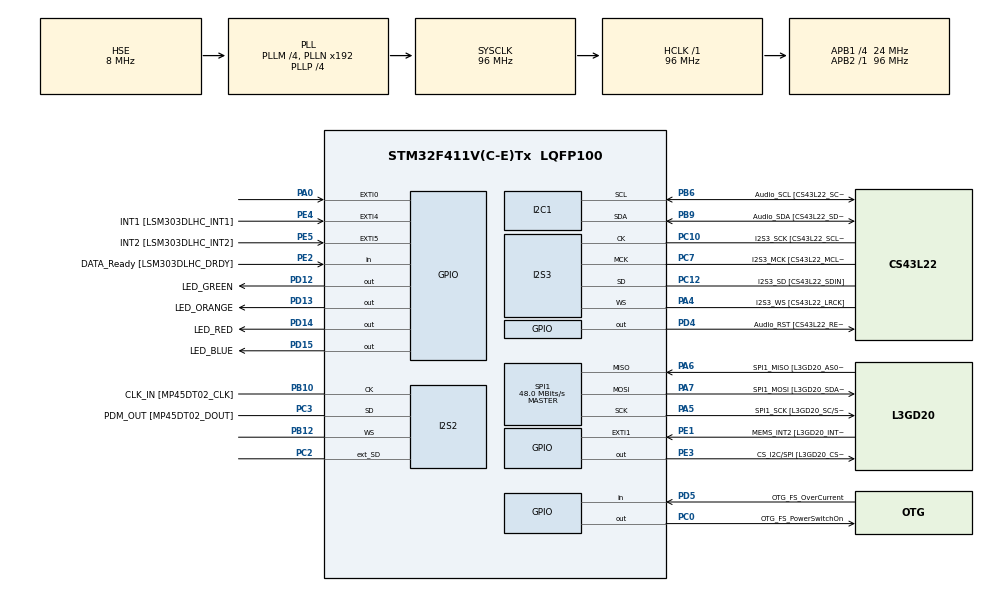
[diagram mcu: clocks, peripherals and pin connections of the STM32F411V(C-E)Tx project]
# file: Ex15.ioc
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FREERTOS.BinarySemaphores01=Blue2Green,Dynamic,NULL;Blue2Red,Dynamic,NULL
FREERTOS.INCLUDE_vTaskDelayUntil=1
FREERTOS.Mutexes01=CriticalResourceMutex,Dynamic,NULL
FREERTOS.Tasks01=FlashGreenLed,0,128,StartFlashGreenLedTask,Default,NULL,Dynamic,NULL,NULL;FlashRedLed,0,128,StartFlashRedLedTask,Default,NULL,Dynamic,NULL,NULL;FlashBlueLed,0,128,StartFlashBlueLedTask,Default,NULL,Dynamic,NULL,NULL
FREERTOS.configUSE_NEWLIB_REENTRANT=1
I2S2.AudioFreq=I2S_AUDIOFREQ_96K
I2S2.ErrorAudioFreq=0.15 %
I2S2.FullDuplexMode=I2S_FULLDUPLEXMODE_ENABLE
I2S2.Instance=SPI$Index
I2S2.RealAudioFreq=96.153 KHz
I2S2.VirtualMode=I2S_MODE_MASTER
I2S3.AudioFreq=I2S_AUDIOFREQ_96K
I2S3.ErrorAudioFreq=-6.99 %
I2S3.FullDuplexMode=I2S_FULLDUPLEXMODE_DISABLE
I2S3.Instance=SPI$Index
I2S3.RealAudioFreq=89.285 KHz
I2S3.VirtualMode=I2S_MODE_MASTER
Mcu.Family=STM32F4
Mcu.Name=STM32F411V(C-E)Tx
Mcu.Package=LQFP100
NVIC.PriorityGroup=NVIC_PRIORITYGROUP_4
NVIC.TIM1_UP_TIM10_IRQn=true\:15\:0\:false\:false\:true\:false\:false\:true\:true
NVIC.TimeBase=TIM1_UP_TIM10_IRQn
NVIC.TimeBaseIP=TIM1
PA0-WKUP.GPIO_ModeDefaultEXTI=GPIO_MODE_EVT_RISING
PA0-WKUP.Signal=GPXTI0
PA10.GPIO_Label=OTG_FS_ID
PA10.Signal=USB_OTG_FS_ID
PA11.GPIO_Label=OTG_FS_DM
PA11.Signal=USB_OTG_FS_DM
PA12.GPIO_Label=OTG_FS_DP
PA12.Signal=USB_OTG_FS_DP
PA13.GPIO_Label=SWDIO
PA13.Mode=Serial_Wire
PA13.Signal=SYS_JTMS-SWDIO
PA14.GPIO_Label=SWCLK
PA14.Mode=Serial_Wire
PA14.Signal=SYS_JTCK-SWCLK
PA4.GPIO_Label=I2S3_WS [CS43L22_LRCK]
PA4.GPIO_Mode=GPIO_MODE_AF_PP
PA4.GPIO_PuPd=GPIO_NOPULL
PA4.GPIO_Speed=GPIO_SPEED_FREQ_LOW
PA4.Mode=Half_Duplex_Master
PA4.Signal=I2S3_WS
PA5.GPIO_Label=SPI1_SCK [L3GD20_SC/SPC]
PA5.Mode=Full_Duplex_Master
PA5.Signal=SPI1_SCK
PA6.GPIO_Label=SPI1_MISO [L3GD20_AS0/SDO]
PA6.Mode=Full_Duplex_Master
PA6.Signal=SPI1_MISO
PA7.GPIO_Label=SPI1_MOSI [L3GD20_SDA/SDI/SDO]
PA7.Mode=Full_Duplex_Master
PA7.Signal=SPI1_MOSI
PA9.GPIO_Label=VBUS_FS
PA9.Signal=USB_OTG_FS_VBUS
PB10.GPIO_Label=CLK_IN [MP45DT02_CLK]
PB10.Mode=Full_Duplex_Master
PB10.Signal=I2S2_CK
PB12.Mode=Full_Duplex_Master
PB12.Signal=I2S2_WS
PB3.GPIO_Label=SWO
PB3.Signal=SYS_JTDO-SWO
PB6.GPIO_Label=Audio_SCL [CS43L22_SCL]
PB6.GPIO_Mode=GPIO_MODE_AF_OD
PB6.GPIO_Pu=GPIO_PULLUP
PB6.GPIO_PuPd=GPIO_NOPULL
PB6.GPIO_Speed=GPIO_SPEED_FREQ_LOW
PB6.Mode=I2C
PB6.Signal=I2C1_SCL
PB9.GPIO_Label=Audio_SDA [CS43L22_SDA]
PB9.GPIO_Mode=GPIO_MODE_AF_OD
PB9.GPIO_Pu=GPIO_PULLUP
PB9.GPIO_PuPd=GPIO_NOPULL
PB9.GPIO_Speed=GPIO_SPEED_FREQ_LOW
PB9.Mode=I2C
PB9.Signal=I2C1_SDA
PC0.GPIO_Label=OTG_FS_PowerSwitchOn
PC0.PinState=GPIO_PIN_SET
PC0.Signal=GPIO_Output
PC10.GPIO_Label=I2S3_SCK [CS43L22_SCLK]
PC10.GPIO_Mode=GPIO_MODE_AF_PP
PC10.GPIO_PuPd=GPIO_NOPULL
PC10.GPIO_Speed=GPIO_SPEED_FREQ_LOW
PC10.Mode=Half_Duplex_Master
PC10.Signal=I2S3_CK
PC12.GPIO_Label=I2S3_SD [CS43L22_SDIN]
PC12.GPIO_Mode=GPIO_MODE_AF_PP
PC12.GPIO_PuPd=GPIO_NOPULL
PC12.GPIO_Speed=GPIO_SPEED_FREQ_LOW
PC12.Mode=Half_Duplex_Master
PC12.Signal=I2S3_SD
PC14-OSC32_IN.GPIO_Label=PC14-OSC32_IN
PC14-OSC32_IN.Mode=LSE-External-Oscillator
PC14-OSC32_IN.Signal=RCC_OSC32_IN
PC15-OSC32_OUT.GPIO_Label=PC15-OSC32_OUT
PC15-OSC32_OUT.Mode=LSE-External-Oscillator
PC15-OSC32_OUT.Signal=RCC_OSC32_OUT
PC2.Mode=Full_Duplex_Master
PC2.Signal=I2S2_ext_SD
PC3.GPIO_Label=PDM_OUT [MP45DT02_DOUT]
PC3.Mode=Full_Duplex_Master
PC3.Signal=I2S2_SD
PC7.GPIO_Label=I2S3_MCK [CS43L22_MCLK]
PC7.GPIO_Mode=GPIO_MODE_AF_PP
PC7.GPIO_PuPd=GPIO_NOPULL
PC7.GPIO_Speed=GPIO_SPEED_FREQ_LOW
PC7.Mode=Master_Clock_Activated
PC7.Signal=I2S3_MCK
PD12.GPIO_Label=LED_GREEN
PD12.GPIO_PuPd=GPIO_NOPULL
PD12.GPIO_Speed=GPIO_SPEED_FREQ_LOW
PD12.Signal=GPIO_Output
PD13.GPIO_Label=LED_ORANGE
PD13.GPIO_PuPd=GPIO_NOPULL
PD13.GPIO_Speed=GPIO_SPEED_FREQ_LOW
PD13.Signal=GPIO_Output
PD14.GPIO_Label=LED_RED
PD14.GPIO_PuPd=GPIO_NOPULL
PD14.GPIO_Speed=GPIO_SPEED_FREQ_LOW
PD14.Signal=GPIO_Output
PD15.GPIO_Label=LED_BLUE
PD15.GPIO_PuPd=GPIO_NOPULL
PD15.GPIO_Speed=GPIO_SPEED_FREQ_LOW
PD15.Signal=GPIO_Output
PD4.GPIO_Label=Audio_RST [CS43L22_RESET]
PD4.Signal=GPIO_Output
PD5.GPIO_Label=OTG_FS_OverCurrent
PD5.Signal=GPIO_Input
PE1.GPIO_Label=MEMS_INT2 [L3GD20_INT2]
PE1.GPIO_ModeDefaultEXTI=GPIO_MODE_EVT_RISING
PE1.Signal=GPXTI1
PE2.GPIO_Label=DATA_Ready [LSM303DLHC_DRDY]
PE2.Signal=GPIO_Input
PE3.GPIO_Label=CS_I2C/SPI [L3GD20_CS_I2C/SPI]
PE3.Signal=GPIO_Output
PE4.GPIO_Label=INT1 [LSM303DLHC_INT1]
PE4.GPIO_ModeDefaultEXTI=GPIO_MODE_EVT_RISING
PE4.Signal=GPXTI4
PE5.GPIO_Label=INT2 [LSM303DLHC_INT2]
PE5.GPIO_ModeDefaultEXTI=GPIO_MODE_EVT_RISING
PE5.Signal=GPXTI5
PH0\ -\ OSC_IN.GPIO_Label=PH0-OSC_IN
PH0\ -\ OSC_IN.Mode=HSE-External-Oscillator
PH0\ -\ OSC_IN.Signal=RCC_OSC_IN
PH1\ -\ OSC_OUT.GPIO_Label=PH1-OSC_OUT
PH1\ -\ OSC_OUT.Mode=HSE-External-Oscillator
PH1\ -\ OSC_OUT.Signal=RCC_OSC_OUT
ProjectManager.HeapSize=0x200
ProjectManager.StackSize=0x400
ProjectManager.TargetToolchain=STM32CubeIDE
RCC.48MHZClocksFreq_Value=48000000
RCC.AHBFreq_Value=96000000
RCC.APB1CLKDivider=RCC_HCLK_DIV4
RCC.APB1Freq_Value=24000000
RCC.APB1TimFreq_Value=48000000
RCC.APB2Freq_Value=96000000
RCC.APB2TimFreq_Value=96000000
RCC.CortexFreq_Value=96000000
RCC.HCLKFreq_Value=96000000
RCC.HSE_VALUE=8000000
RCC.HSI_VALUE=16000000
RCC.PLLI2SM=5
RCC.PLLI2SN=200
RCC.PLLM=4
RCC.PLLP=RCC_PLLP_DIV4
RCC.PLLQ=8
RCC.PLLSourceVirtual=RCC_PLLSOURCE_HSE
RCC.SYSCLKFreq_VALUE=96000000
RCC.SYSCLKSource=RCC_SYSCLKSOURCE_PLLCLK
RCC.VCOOutputFreq_Value=384000000
SPI1.BaudRatePrescaler=SPI_BAUDRATEPRESCALER_2
SPI1.CalculateBaudRate=48.0 MBits/s
SPI1.Direction=SPI_DIRECTION_2LINES
SPI1.Mode=SPI_MODE_MASTER
SPI1.VirtualType=VM_MASTER
VP_FREERTOS_VS_CMSIS_V1.Mode=CMSIS_V1
VP_SYS_VS_tim1.Mode=TIM1
board=STM32F411E-DISCO

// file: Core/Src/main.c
/* USER CODE BEGIN Header */
/**
  ******************************************************************************
  * @file           : main.c
  * @brief          : Main program body
  ******************************************************************************
  * @attention
  *
  * Copyright (c) 2024 STMicroelectronics.
  * All rights reserved.
  *
  * This software is licensed under terms that can be found in the LICENSE file
  * in the root directory of this software component.
  * If no LICENSE file comes with this software, it is provided AS-IS.
  *
  ******************************************************************************
  */
/* USER CODE END Header */
#include "main.h"
#include "cmsis_os.h"

/* USER CODE BEGIN PD */
#define Blue2GreenEF Blue2GreenHandle
#define Blue2RedEF Blue2RedHandle
#define WaitForever portMAX_DELAY
#define NoWait 0
#define WaitEventFlag osSemaphoreWait
#define SetEventFlag osSemaphoreRelease
#define BlockEventFlag osSemaphoreWait
/* USER CODE END PD */

I2C_HandleTypeDef hi2c1;

I2S_HandleTypeDef hi2s2;
I2S_HandleTypeDef hi2s3;

SPI_HandleTypeDef hspi1;

osThreadId FlashGreenLedHandle;
osThreadId FlashRedLedHandle;
osThreadId FlashBlueLedHandle;
osMutexId CriticalResourceMutexHandle;
osSemaphoreId Blue2GreenHandle;
osSemaphoreId Blue2RedHandle;

void SystemClock_Config(void);
void PeriphCommonClock_Config(void);
static void MX_GPIO_Init(void);
static void MX_I2C1_Init(void);
static void MX_I2S2_Init(void);
static void MX_I2S3_Init(void);
static void MX_SPI1_Init(void);
void StartFlashGreenLedTask(void const * argument);
void StartFlashRedLedTask(void const * argument);
void StartFlashBlueLedTask(void const * argument);

int main(void)
{

  /* MCU Configuration--------------------------------------------------------*/

  /* Reset of all peripherals, Initializes the Flash interface and the Systick. */
  HAL_Init();

  /* Configure the system clock */
  SystemClock_Config();

/* Configure the peripherals common clocks */
  PeriphCommonClock_Config();

  /* Initialize all configured peripherals */
  MX_GPIO_Init();
  MX_I2C1_Init();
  MX_I2S2_Init();
  MX_I2S3_Init();
  MX_SPI1_Init();

  /* Create the mutex(es) */
  /* definition and creation of CriticalResourceMutex */
  osMutexDef(CriticalResourceMutex);
  CriticalResourceMutexHandle = osMutexCreate(osMutex(CriticalResourceMutex));

  /* Create the semaphores(s) */
  /* definition and creation of Blue2Green */
  osSemaphoreDef(Blue2Green);
  Blue2GreenHandle = osSemaphoreCreate(osSemaphore(Blue2Green), 1);

  /* definition and creation of Blue2Red */
  osSemaphoreDef(Blue2Red);
  Blue2RedHandle = osSemaphoreCreate(osSemaphore(Blue2Red), 1);

  /* Create the thread(s) */
  /* definition and creation of FlashGreenLed */
  osThreadDef(FlashGreenLed, StartFlashGreenLedTask, osPriorityNormal, 0, 128);
  FlashGreenLedHandle = osThreadCreate(osThread(FlashGreenLed), NULL);

  /* definition and creation of FlashRedLed */
  osThreadDef(FlashRedLed, StartFlashRedLedTask, osPriorityNormal, 0, 128);
  FlashRedLedHandle = osThreadCreate(osThread(FlashRedLed), NULL);

  /* definition and creation of FlashBlueLed */
  osThreadDef(FlashBlueLed, StartFlashBlueLedTask, osPriorityNormal, 0, 128);
  FlashBlueLedHandle = osThreadCreate(osThread(FlashBlueLed), NULL);

  /* Start scheduler */
  osKernelStart();

  /* We should never get here as control is now taken by the scheduler */
  /* Infinite loop */
  while (1)
  {

  }
}

void SystemClock_Config(void)
{
  RCC_OscInitTypeDef RCC_OscInitStruct = {0};
  RCC_ClkInitTypeDef RCC_ClkInitStruct = {0};

  /** Configure the main internal regulator output voltage
  */
  __HAL_RCC_PWR_CLK_ENABLE();
  __HAL_PWR_VOLTAGESCALING_CONFIG(PWR_REGULATOR_VOLTAGE_SCALE1);

  /** Initializes the RCC Oscillators according to the specified parameters
  * in the RCC_OscInitTypeDef structure.
  */
  RCC_OscInitStruct.OscillatorType = RCC_OSCILLATORTYPE_HSE;
  RCC_OscInitStruct.HSEState = RCC_HSE_ON;
  RCC_OscInitStruct.PLL.PLLState = RCC_PLL_ON;
  RCC_OscInitStruct.PLL.PLLSource = RCC_PLLSOURCE_HSE;
  RCC_OscInitStruct.PLL.PLLM = 4;
  RCC_OscInitStruct.PLL.PLLN = 192;
  RCC_OscInitStruct.PLL.PLLP = RCC_PLLP_DIV4;
  RCC_OscInitStruct.PLL.PLLQ = 8;
  if (HAL_RCC_OscConfig(&RCC_OscInitStruct) != HAL_OK)
  {
    Error_Handler();
  }

  /** Initializes the CPU, AHB and APB buses clocks
  */
  RCC_ClkInitStruct.ClockType = RCC_CLOCKTYPE_HCLK|RCC_CLOCKTYPE_SYSCLK
                              |RCC_CLOCKTYPE_PCLK1|RCC_CLOCKTYPE_PCLK2;
  RCC_ClkInitStruct.SYSCLKSource = RCC_SYSCLKSOURCE_PLLCLK;
  RCC_ClkInitStruct.AHBCLKDivider = RCC_SYSCLK_DIV1;
  RCC_ClkInitStruct.APB1CLKDivider = RCC_HCLK_DIV4;
  RCC_ClkInitStruct.APB2CLKDivider = RCC_HCLK_DIV1;

  if (HAL_RCC_ClockConfig(&RCC_ClkInitStruct, FLASH_LATENCY_3) != HAL_OK)
  {
    Error_Handler();
  }
}

void PeriphCommonClock_Config(void)
{
  RCC_PeriphCLKInitTypeDef PeriphClkInitStruct = {0};

  /** Initializes the peripherals clock
  */
  PeriphClkInitStruct.PeriphClockSelection = RCC_PERIPHCLK_I2S;
  PeriphClkInitStruct.PLLI2S.PLLI2SN = 200;
  PeriphClkInitStruct.PLLI2S.PLLI2SM = 5;
  PeriphClkInitStruct.PLLI2S.PLLI2SR = 2;
  if (HAL_RCCEx_PeriphCLKConfig(&PeriphClkInitStruct) != HAL_OK)
  {
    Error_Handler();
  }
}

static void MX_I2C1_Init(void)
{

  hi2c1.Instance = I2C1;
  hi2c1.Init.ClockSpeed = 100000;
  hi2c1.Init.DutyCycle = I2C_DUTYCYCLE_2;
  hi2c1.Init.OwnAddress1 = 0;
  hi2c1.Init.AddressingMode = I2C_ADDRESSINGMODE_7BIT;
  hi2c1.Init.DualAddressMode = I2C_DUALADDRESS_DISABLE;
  hi2c1.Init.OwnAddress2 = 0;
  hi2c1.Init.GeneralCallMode = I2C_GENERALCALL_DISABLE;
  hi2c1.Init.NoStretchMode = I2C_NOSTRETCH_DISABLE;
  if (HAL_I2C_Init(&hi2c1) != HAL_OK)
  {
    Error_Handler();
  }

}

static void MX_I2S2_Init(void)
{

  hi2s2.Instance = SPI2;
  hi2s2.Init.Mode = I2S_MODE_MASTER_TX;
  hi2s2.Init.Standard = I2S_STANDARD_PHILIPS;
  hi2s2.Init.DataFormat = I2S_DATAFORMAT_16B;
  hi2s2.Init.MCLKOutput = I2S_MCLKOUTPUT_DISABLE;
  hi2s2.Init.AudioFreq = I2S_AUDIOFREQ_96K;
  hi2s2.Init.CPOL = I2S_CPOL_LOW;
  hi2s2.Init.ClockSource = I2S_CLOCK_PLL;
  hi2s2.Init.FullDuplexMode = I2S_FULLDUPLEXMODE_ENABLE;
  if (HAL_I2S_Init(&hi2s2) != HAL_OK)
  {
    Error_Handler();
  }

}

static void MX_I2S3_Init(void)
{

  hi2s3.Instance = SPI3;
  hi2s3.Init.Mode = I2S_MODE_MASTER_TX;
  hi2s3.Init.Standard = I2S_STANDARD_PHILIPS;
  hi2s3.Init.DataFormat = I2S_DATAFORMAT_16B;
  hi2s3.Init.MCLKOutput = I2S_MCLKOUTPUT_ENABLE;
  hi2s3.Init.AudioFreq = I2S_AUDIOFREQ_96K;
  hi2s3.Init.CPOL = I2S_CPOL_LOW;
  hi2s3.Init.ClockSource = I2S_CLOCK_PLL;
  hi2s3.Init.FullDuplexMode = I2S_FULLDUPLEXMODE_DISABLE;
  if (HAL_I2S_Init(&hi2s3) != HAL_OK)
  {
    Error_Handler();
  }

}

static void MX_SPI1_Init(void)
{

  /* SPI1 parameter configuration*/
  hspi1.Instance = SPI1;
  hspi1.Init.Mode = SPI_MODE_MASTER;
  hspi1.Init.Direction = SPI_DIRECTION_2LINES;
  hspi1.Init.DataSize = SPI_DATASIZE_8BIT;
  hspi1.Init.CLKPolarity = SPI_POLARITY_LOW;
  hspi1.Init.CLKPhase = SPI_PHASE_1EDGE;
  hspi1.Init.NSS = SPI_NSS_SOFT;
  hspi1.Init.BaudRatePrescaler = SPI_BAUDRATEPRESCALER_2;
  hspi1.Init.FirstBit = SPI_FIRSTBIT_MSB;
  hspi1.Init.TIMode = SPI_TIMODE_DISABLE;
  hspi1.Init.CRCCalculation = SPI_CRCCALCULATION_DISABLE;
  hspi1.Init.CRCPolynomial = 10;
  if (HAL_SPI_Init(&hspi1) != HAL_OK)
  {
    Error_Handler();
  }

}

static void MX_GPIO_Init(void)
{
  GPIO_InitTypeDef GPIO_InitStruct = {0};

  /* GPIO Ports Clock Enable */
  __HAL_RCC_GPIOE_CLK_ENABLE();
  __HAL_RCC_GPIOC_CLK_ENABLE();
  __HAL_RCC_GPIOH_CLK_ENABLE();
  __HAL_RCC_GPIOA_CLK_ENABLE();
  __HAL_RCC_GPIOB_CLK_ENABLE();
  __HAL_RCC_GPIOD_CLK_ENABLE();

  /*Configure GPIO pin Output Level */
  HAL_GPIO_WritePin(CS_I2C_SPI_GPIO_Port, CS_I2C_SPI_Pin, GPIO_PIN_RESET);

  /*Configure GPIO pin Output Level */
  HAL_GPIO_WritePin(OTG_FS_PowerSwitchOn_GPIO_Port, OTG_FS_PowerSwitchOn_Pin, GPIO_PIN_SET);

  /*Configure GPIO pin Output Level */
  HAL_GPIO_WritePin(GPIOD, LED_GREEN_Pin|LED_ORANGE_Pin|LED_RED_Pin|LED_BLUE_Pin
                          |Audio_RST_Pin, GPIO_PIN_RESET);

  /*Configure GPIO pin : DATA_Ready_Pin */
  GPIO_InitStruct.Pin = DATA_Ready_Pin;
  GPIO_InitStruct.Mode = GPIO_MODE_INPUT;
  GPIO_InitStruct.Pull = GPIO_NOPULL;
  HAL_GPIO_Init(DATA_Ready_GPIO_Port, &GPIO_InitStruct);

  /*Configure GPIO pin : CS_I2C_SPI_Pin */
  GPIO_InitStruct.Pin = CS_I2C_SPI_Pin;
  GPIO_InitStruct.Mode = GPIO_MODE_OUTPUT_PP;
  GPIO_InitStruct.Pull = GPIO_NOPULL;
  GPIO_InitStruct.Speed = GPIO_SPEED_FREQ_LOW;
  HAL_GPIO_Init(CS_I2C_SPI_GPIO_Port, &GPIO_InitStruct);

  /*Configure GPIO pins : INT1_Pin INT2_Pin MEMS_INT2_Pin */
  GPIO_InitStruct.Pin = INT1_Pin|INT2_Pin|MEMS_INT2_Pin;
  GPIO_InitStruct.Mode = GPIO_MODE_EVT_RISING;
  GPIO_InitStruct.Pull = GPIO_NOPULL;
  HAL_GPIO_Init(GPIOE, &GPIO_InitStruct);

  /*Configure GPIO pin : OTG_FS_PowerSwitchOn_Pin */
  GPIO_InitStruct.Pin = OTG_FS_PowerSwitchOn_Pin;
  GPIO_InitStruct.Mode = GPIO_MODE_OUTPUT_PP;
  GPIO_InitStruct.Pull = GPIO_NOPULL;
  GPIO_InitStruct.Speed = GPIO_SPEED_FREQ_LOW;
  HAL_GPIO_Init(OTG_FS_PowerSwitchOn_GPIO_Port, &GPIO_InitStruct);

  /*Configure GPIO pin : PA0 */
  GPIO_InitStruct.Pin = GPIO_PIN_0;
  GPIO_InitStruct.Mode = GPIO_MODE_EVT_RISING;
  GPIO_InitStruct.Pull = GPIO_NOPULL;
  HAL_GPIO_Init(GPIOA, &GPIO_InitStruct);

  /*Configure GPIO pins : LED_GREEN_Pin LED_ORANGE_Pin LED_RED_Pin LED_BLUE_Pin
                           Audio_RST_Pin */
  GPIO_InitStruct.Pin = LED_GREEN_Pin|LED_ORANGE_Pin|LED_RED_Pin|LED_BLUE_Pin
                          |Audio_RST_Pin;
  GPIO_InitStruct.Mode = GPIO_MODE_OUTPUT_PP;
  GPIO_InitStruct.Pull = GPIO_NOPULL;
  GPIO_InitStruct.Speed = GPIO_SPEED_FREQ_LOW;
  HAL_GPIO_Init(GPIOD, &GPIO_InitStruct);

  /*Configure GPIO pin : VBUS_FS_Pin */
  GPIO_InitStruct.Pin = VBUS_FS_Pin;
  GPIO_InitStruct.Mode = GPIO_MODE_INPUT;
  GPIO_InitStruct.Pull = GPIO_NOPULL;
  HAL_GPIO_Init(VBUS_FS_GPIO_Port, &GPIO_InitStruct);

  /*Configure GPIO pins : OTG_FS_ID_Pin OTG_FS_DM_Pin OTG_FS_DP_Pin */
  GPIO_InitStruct.Pin = OTG_FS_ID_Pin|OTG_FS_DM_Pin|OTG_FS_DP_Pin;
  GPIO_InitStruct.Mode = GPIO_MODE_AF_PP;
  GPIO_InitStruct.Pull = GPIO_NOPULL;
  GPIO_InitStruct.Speed = GPIO_SPEED_FREQ_VERY_HIGH;
  GPIO_InitStruct.Alternate = GPIO_AF10_OTG_FS;
  HAL_GPIO_Init(GPIOA, &GPIO_InitStruct);

  /*Configure GPIO pin : OTG_FS_OverCurrent_Pin */
  GPIO_InitStruct.Pin = OTG_FS_OverCurrent_Pin;
  GPIO_InitStruct.Mode = GPIO_MODE_INPUT;
  GPIO_InitStruct.Pull = GPIO_NOPULL;
  HAL_GPIO_Init(OTG_FS_OverCurrent_GPIO_Port, &GPIO_InitStruct);

}

void StartFlashGreenLedTask(void const * argument)
{
  /* USER CODE BEGIN 5 */
	BlockEventFlag(Blue2GreenEF, NoWait);
  /* Infinite loop */
  for(;;)
  {
	  WaitEventFlag(Blue2GreenEF, WaitForever);
	  for(int i=0;i<=50;i++){// 50 * 100 mSec = 5 sec
		  HAL_GPIO_WritePin(GPIOD, LED_GREEN_Pin, GPIO_PIN_SET);
		  osDelay(50);
		  HAL_GPIO_WritePin(GPIOD, LED_GREEN_Pin, GPIO_PIN_RESET);
		  osDelay(50);
	  }//nested for
  }
  /* USER CODE END 5 */
}

void StartFlashRedLedTask(void const * argument)
{
  /* USER CODE BEGIN StartFlashRedLedTask */
	BlockEventFlag(Blue2RedEF, NoWait);
  /* Infinite loop */
  for(;;)
  {
	  WaitEventFlag(Blue2RedEF, WaitForever);
	  for(int i=0;i<50;i++){// 50 * 100 mSec = 5 sec
		  HAL_GPIO_WritePin(GPIOD, LED_RED_Pin, GPIO_PIN_SET);
		  osDelay(50);
		  HAL_GPIO_WritePin(GPIOD, LED_RED_Pin, GPIO_PIN_RESET);
		  osDelay(50);
	  }
  }
  /* USER CODE END StartFlashRedLedTask */
}

void StartFlashBlueLedTask(void const * argument)
{
  /* USER CODE BEGIN StartFlashBlueLedTask */
  /* Infinite loop */
  for(;;)
  {
	  for(int i=0;i<10;i++){//10 * 100msec = 1 second
		  HAL_GPIO_WritePin(GPIOD, LED_BLUE_Pin, GPIO_PIN_SET);
		  osDelay(500);
		  HAL_GPIO_WritePin(GPIOD, LED_BLUE_Pin, GPIO_PIN_RESET);
		  osDelay(500);
	  }

	  SetEventFlag(Blue2GreenEF);
	  osDelay(6000);
	  SetEventFlag(Blue2RedEF);
  }
  /* USER CODE END StartFlashBlueLedTask */
}

void HAL_TIM_PeriodElapsedCallback(TIM_HandleTypeDef *htim)
{
  if (htim->Instance == TIM1) {
    HAL_IncTick();
  }
}

void Error_Handler(void)
{
  __disable_irq();
  while (1)
  {
  }
}
